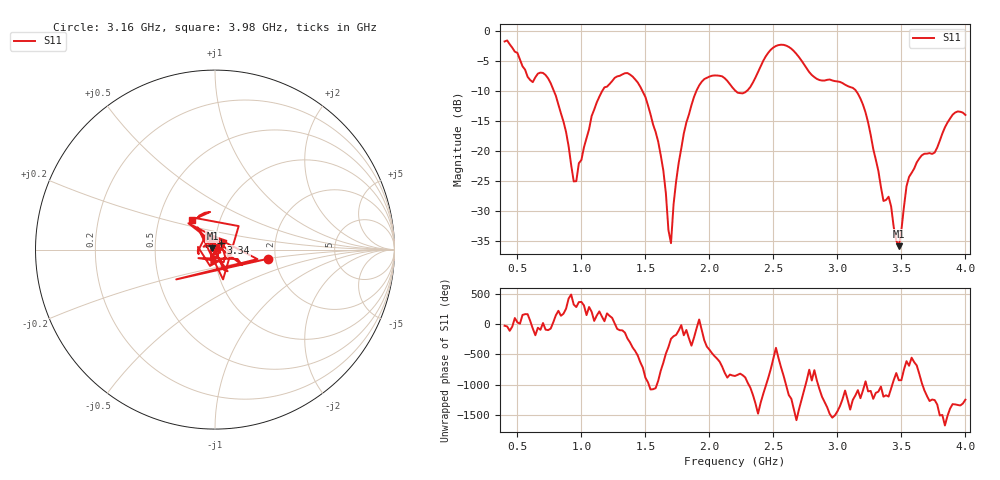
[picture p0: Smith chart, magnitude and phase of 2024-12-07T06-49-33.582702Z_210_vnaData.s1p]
!Created with skrf (http://scikit-rf.org).
# Hz S RI R 50.0
!freq ReS11 ImS11
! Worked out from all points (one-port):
!   181 points, 400 MHz to 4 GHz, reference 50 ohm
!   lowest |S11| = -35.8 dB at 3.48 GHz (marker M1), VSWR 1.03, Z = 48.6 + j0.704 ohm
!   |S11| at or under -10 dB: 784.4 MHz to 1.164 GHz (379.5 MHz wide, 39 % of centre); 1.476 GHz to 1.899 GHz (422.9 MHz wide, 25.1 % of centre); 3.145 GHz to end of sweep (the widest 3 of 4)
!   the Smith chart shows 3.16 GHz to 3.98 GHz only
!   S11 on the Smith chart (normalised r, x): 3.16 GHz: 1.82, -0.20; 3.34 GHz: 1.07, +0.08; 3.98 GHz: 0.73, +0.25
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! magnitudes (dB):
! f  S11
! 400 MHz  -1.8
! 600 MHz  -8.2
! 740 MHz  -7.9
! 860 MHz  -15.1
! 960 MHz  -25.0
! 1.12 GHz  -11.9
! 1.3 GHz  -7.5
! 1.4 GHz  -7.6
! 1.52 GHz  -12.4
! 1.64 GHz  -23.2
! 1.7 GHz  -35.3
! 1.76 GHz  -22.0
! 1.82 GHz  -15.3
! 1.94 GHz  -8.5
! 2.2 GHz  -9.9
! 2.3 GHz  -9.9
! 2.5 GHz  -2.8
! 2.66 GHz  -3.4
! 2.84 GHz  -8.0
! 3.1 GHz  -9.4
! 3.16 GHz  -10.5
! 3.24 GHz  -15.3
! 3.34 GHz  -26.0
! 3.4 GHz  -27.6
! 3.48 GHz  -35.8
! 3.56 GHz  -24.3
! 3.98 GHz  -13.6
! 4 GHz  -14.0
